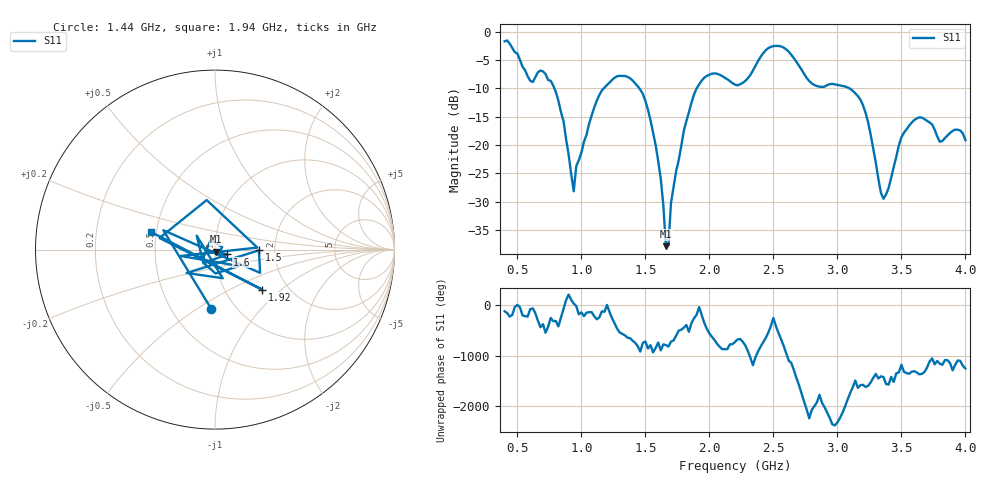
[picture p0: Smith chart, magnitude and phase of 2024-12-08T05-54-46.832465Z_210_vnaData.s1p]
!Created with skrf (http://scikit-rf.org).
# Hz S RI R 50.0
!freq ReS11 ImS11
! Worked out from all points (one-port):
!   181 points, 400 MHz to 4 GHz, reference 50 ohm
!   lowest |S11| = -37.8 dB at 1.66 GHz (marker M1), VSWR 1.03, Z = 50.4 - j1.22 ohm
!   |S11| at or under -10 dB: 788.7 MHz to 1.175 GHz (386.5 MHz wide, 39.4 % of centre); 1.452 GHz to 1.9 GHz (448.1 MHz wide, 26.7 % of centre); 3.094 GHz to end of sweep
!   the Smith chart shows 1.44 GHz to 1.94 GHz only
!   S11 on the Smith chart (normalised r, x): 1.44 GHz: 0.77, -0.57; 1.5 GHz: 1.65, -0.01; 1.6 GHz: 1.14, -0.06; 1.92 GHz: 1.48, -0.75; 1.94 GHz: 0.47, +0.11
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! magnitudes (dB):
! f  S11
! 400 MHz  -1.7
! 600 MHz  -8.7
! 760 MHz  -8.7
! 860 MHz  -15.8
! 940 MHz  -28.2
! 960 MHz  -23.7
! 1.12 GHz  -12.2
! 1.3 GHz  -7.8
! 1.44 GHz  -9.6
! 1.5 GHz  -12.2
! 1.6 GHz  -22.8
! 1.64 GHz  -30.5
! 1.66 GHz  -37.8
! 1.68 GHz  -37.6
! 1.7 GHz  -30.2
! 1.76 GHz  -22.7
! 1.92 GHz  -9.3
! 1.94 GHz  -8.6
! 2.2 GHz  -9.3
! 2.48 GHz  -2.7
! 2.66 GHz  -4.7
! 2.82 GHz  -9.4
! 3.1 GHz  -10.1
! 3.22 GHz  -14.3
! 3.36 GHz  -29.5
! 3.56 GHz  -16.6
! 3.66 GHz  -15.2
! 4 GHz  -19.1
